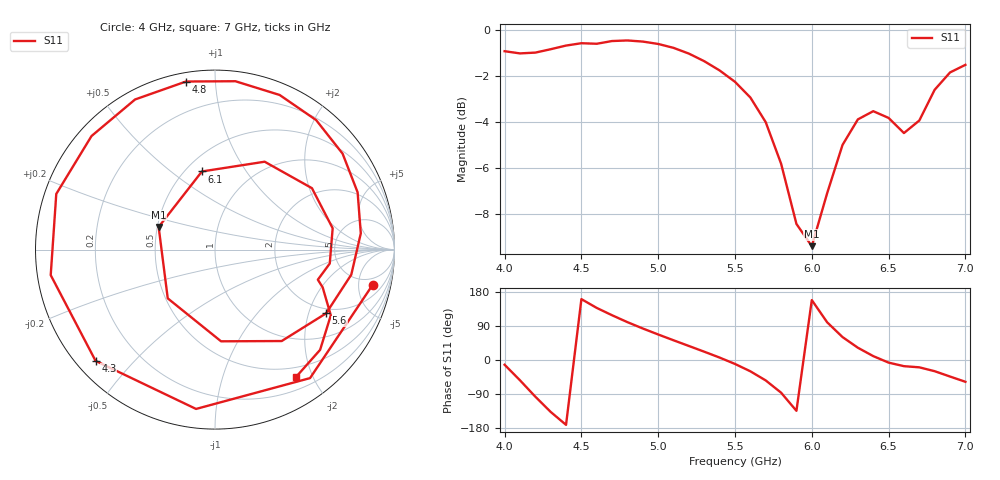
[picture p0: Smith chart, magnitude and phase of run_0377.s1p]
! Touchstone file exported from HFSS 2024.2.0
!  File:  C:/Users/wsak9/Desktop/Sim Fast/Widenad Patch/WP_AI_V1_sweep.aedt
!  Generated:  07:06:22 AM Oct 14, 2026
!  Design:  A1_model
!  Project:  WP_AI_V1_sweep
!  Setup:  Setup1
!  Solution:  Sweep
! Variables:
!  Air_gap = 3.35mm
!  Curve_Amp1 = 3.29
!  Curve_len1 = 1
!  Curve_pos = 9.725mm
!  Extra = 5.75mm
!  H_sub = 0.79mm
!  L_Patch = 15.45mm
!  L_Patch1 = 14.3mm
!  Sx = 4.66mm
!  Sy = 0.95mm
!  WS = 0.75mm
!  W_Patch = 20.59mm
!  W_Patch1 = 8.55mm
!Data is not renormalized
# GHz S MA
! Terminal data exported
! Port[1] = 1
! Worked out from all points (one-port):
!   31 points, 4 GHz to 7 GHz, reference per port
!   lowest |S11| = -9.4 dB at 6 GHz (marker M1), VSWR 2.02
!   |S11| at or under -10 dB: nowhere
!   S11 on the Smith chart (normalised r, x): 4 GHz: 3.58, -7.39; 4.3 GHz: 0.05, -0.39; 4.8 GHz: 0.04, +0.84; 5.6 GHz: 1.81, -2.62; 6.1 GHz: 0.60, +0.65; 7 GHz: 0.37, -1.77
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4  0.9003 -12.6
4.1  0.8905 -53.5
4.2  0.894 -96.8
4.3  0.9094 -137.0
4.4  0.9263 -171.2
4.5  0.9372 160.7
4.6  0.9347 137.4
4.7  0.9476 118.0
4.8  0.9503 99.8
4.9  0.9449 83.1
5  0.9338 67.3
5.2  0.8895 36.9
5.4  0.8174 6.4
5.5  0.772 -10.4
5.6  0.7136 -29.8
5.7  0.6305 -53.9
5.8  0.5121 -86.2
5.9  0.3783 -134.1
6  0.3383 158.1
6.1  0.4414 99.5
6.2  0.5624 60.5
6.3  0.6394 32.4
6.4  0.6663 10.3
6.5  0.6441 -6.9
6.6  0.597 -16.3
6.7  0.6358 -19.3
6.8  0.7419 -29.6
7  0.8408 -57.5
